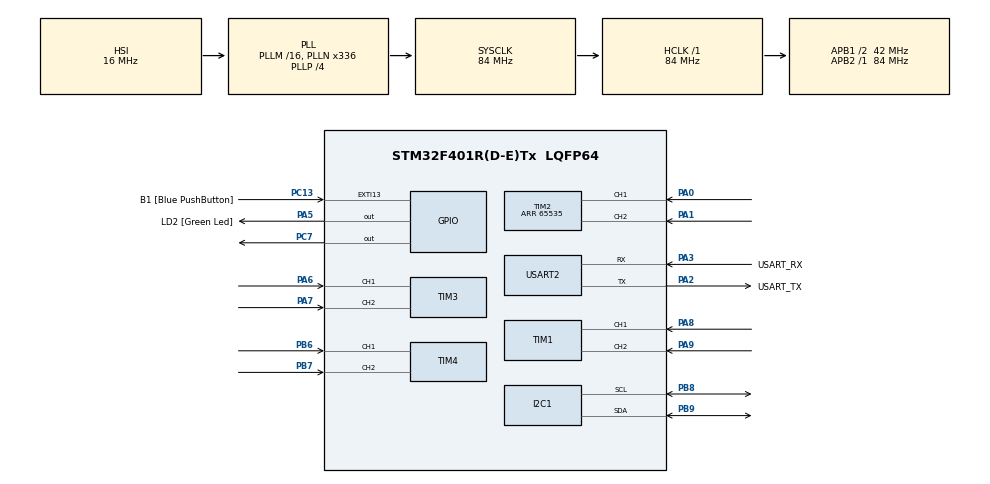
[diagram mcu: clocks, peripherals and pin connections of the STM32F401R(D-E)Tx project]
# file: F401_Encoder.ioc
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Dma.Request0=USART2_RX
Dma.Request1=USART2_TX
Dma.USART2_RX.0.Direction=DMA_PERIPH_TO_MEMORY
Dma.USART2_RX.0.FIFOMode=DMA_FIFOMODE_DISABLE
Dma.USART2_RX.0.Instance=DMA1_Stream5
Dma.USART2_RX.0.MemDataAlignment=DMA_MDATAALIGN_BYTE
Dma.USART2_RX.0.MemInc=DMA_MINC_ENABLE
Dma.USART2_RX.0.Mode=DMA_CIRCULAR
Dma.USART2_RX.0.PeriphDataAlignment=DMA_PDATAALIGN_BYTE
Dma.USART2_RX.0.PeriphInc=DMA_PINC_DISABLE
Dma.USART2_RX.0.Priority=DMA_PRIORITY_VERY_HIGH
Dma.USART2_TX.1.Direction=DMA_MEMORY_TO_PERIPH
Dma.USART2_TX.1.FIFOMode=DMA_FIFOMODE_DISABLE
Dma.USART2_TX.1.Instance=DMA1_Stream6
Dma.USART2_TX.1.MemDataAlignment=DMA_MDATAALIGN_BYTE
Dma.USART2_TX.1.MemInc=DMA_MINC_ENABLE
Dma.USART2_TX.1.Mode=DMA_NORMAL
Dma.USART2_TX.1.PeriphDataAlignment=DMA_PDATAALIGN_BYTE
Dma.USART2_TX.1.PeriphInc=DMA_PINC_DISABLE
Dma.USART2_TX.1.Priority=DMA_PRIORITY_VERY_HIGH
FREERTOS.Tasks01=defaultTask,24,3000,Microros,Default,NULL,Dynamic,NULL,NULL
Mcu.Family=STM32F4
Mcu.Name=STM32F401R(D-E)Tx
Mcu.Package=LQFP64
NVIC.DMA1_Stream5_IRQn=true\:5\:0\:false\:false\:true\:true\:false\:true\:true
NVIC.DMA1_Stream6_IRQn=true\:5\:0\:false\:false\:true\:true\:false\:true\:true
NVIC.PriorityGroup=NVIC_PRIORITYGROUP_4
NVIC.TIM1_BRK_TIM9_IRQn=true\:5\:0\:false\:false\:true\:true\:true\:true\:true
NVIC.TIM1_CC_IRQn=true\:5\:0\:false\:false\:true\:true\:true\:true\:true
NVIC.TIM1_TRG_COM_TIM11_IRQn=true\:5\:0\:false\:false\:true\:true\:true\:true\:true
NVIC.TIM1_UP_TIM10_IRQn=true\:5\:0\:false\:false\:true\:true\:true\:true\:true
NVIC.TIM2_IRQn=true\:5\:0\:false\:false\:true\:true\:true\:true\:true
NVIC.TIM3_IRQn=true\:5\:0\:false\:false\:true\:true\:true\:true\:true
NVIC.TIM4_IRQn=true\:5\:0\:false\:false\:true\:true\:true\:true\:true
NVIC.TIM5_IRQn=true\:5\:0\:false\:false\:true\:true\:true\:true\:true
NVIC.USART2_IRQn=true\:5\:0\:false\:false\:true\:true\:true\:true\:true
PA0-WKUP.Signal=S_TIM2_CH1_ETR
PA1.Signal=S_TIM2_CH2
PA13.GPIO_Label=TMS
PA13.Mode=Trace_Asynchronous_SW
PA13.Signal=SYS_JTMS-SWDIO
PA14.GPIO_Label=TCK
PA14.Mode=Trace_Asynchronous_SW
PA14.Signal=SYS_JTCK-SWCLK
PA2.GPIO_Label=USART_TX
PA2.GPIO_Mode=GPIO_MODE_AF_PP
PA2.GPIO_PuPd=GPIO_NOPULL
PA2.GPIO_Speed=GPIO_SPEED_FREQ_LOW
PA2.Mode=Asynchronous
PA2.Signal=USART2_TX
PA3.GPIO_Label=USART_RX
PA3.GPIO_Mode=GPIO_MODE_AF_PP
PA3.GPIO_PuPd=GPIO_NOPULL
PA3.GPIO_Speed=GPIO_SPEED_FREQ_LOW
PA3.Mode=Asynchronous
PA3.Signal=USART2_RX
PA5.GPIO_Label=LD2 [Green Led]
PA5.GPIO_Mode=GPIO_MODE_OUTPUT_PP
PA5.GPIO_PuPd=GPIO_NOPULL
PA5.GPIO_Speed=GPIO_SPEED_FREQ_LOW
PA5.Signal=GPIO_Output
PA6.Signal=S_TIM3_CH1
PA7.Signal=S_TIM3_CH2
PA8.Signal=S_TIM1_CH1
PA9.Signal=S_TIM1_CH2
PB3.GPIO_Label=SWO
PB3.Mode=Trace_Asynchronous_SW
PB3.Signal=SYS_JTDO-SWO
PB6.Signal=S_TIM4_CH1
PB7.Signal=S_TIM4_CH2
PB8.Mode=I2C
PB8.Signal=I2C1_SCL
PB9.Mode=I2C
PB9.Signal=I2C1_SDA
PC13-ANTI_TAMP.GPIO_Label=B1 [Blue PushButton]
PC13-ANTI_TAMP.GPIO_ModeDefaultEXTI=GPIO_MODE_IT_FALLING
PC13-ANTI_TAMP.GPIO_PuPd=GPIO_NOPULL
PC13-ANTI_TAMP.Signal=GPXTI13
PC14-OSC32_IN.Mode=LSE-External-Oscillator
PC14-OSC32_IN.Signal=RCC_OSC32_IN
PC15-OSC32_OUT.Mode=LSE-External-Oscillator
PC15-OSC32_OUT.Signal=RCC_OSC32_OUT
PC7.Signal=GPIO_Output
PH0\ -\ OSC_IN.Mode=HSE-External-Oscillator
PH0\ -\ OSC_IN.Signal=RCC_OSC_IN
PH1\ -\ OSC_OUT.Mode=HSE-External-Oscillator
PH1\ -\ OSC_OUT.Signal=RCC_OSC_OUT
ProjectManager.HeapSize=0x200
ProjectManager.StackSize=0x400
ProjectManager.TargetToolchain=STM32CubeIDE
RCC.48MHZClocksFreq_Value=48000000
RCC.AHBFreq_Value=84000000
RCC.APB1CLKDivider=RCC_HCLK_DIV2
RCC.APB1Freq_Value=42000000
RCC.APB1TimFreq_Value=84000000
RCC.APB2Freq_Value=84000000
RCC.APB2TimFreq_Value=84000000
RCC.CortexFreq_Value=84000000
RCC.HCLKFreq_Value=84000000
RCC.HSE_VALUE=8000000
RCC.HSI_VALUE=16000000
RCC.PLLN=336
RCC.PLLP=RCC_PLLP_DIV4
RCC.PLLQ=7
RCC.SYSCLKFreq_VALUE=84000000
RCC.SYSCLKSource=RCC_SYSCLKSOURCE_PLLCLK
RCC.VCOOutputFreq_Value=336000000
SH.S_TIM1_CH1.0=TIM1_CH1,Encoder_Interface
SH.S_TIM1_CH2.0=TIM1_CH2,Encoder_Interface
SH.S_TIM2_CH1_ETR.0=TIM2_CH1,Encoder_Interface
SH.S_TIM2_CH2.0=TIM2_CH2,Encoder_Interface
SH.S_TIM3_CH1.0=TIM3_CH1,Encoder_Interface
SH.S_TIM3_CH2.0=TIM3_CH2,Encoder_Interface
SH.S_TIM4_CH1.0=TIM4_CH1,Encoder_Interface
SH.S_TIM4_CH2.0=TIM4_CH2,Encoder_Interface
TIM1.AutoReloadPreload=TIM_AUTORELOAD_PRELOAD_ENABLE
TIM2.AutoReloadPreload=TIM_AUTORELOAD_PRELOAD_ENABLE
TIM2.Period=65535
TIM3.AutoReloadPreload=TIM_AUTORELOAD_PRELOAD_ENABLE
TIM4.AutoReloadPreload=TIM_AUTORELOAD_PRELOAD_ENABLE
TIM5.AutoReloadPreload=TIM_AUTORELOAD_PRELOAD_ENABLE
TIM5.Period=200
TIM5.Prescaler=42000
TIM5.TIM_MasterOutputTrigger=TIM_TRGO_UPDATE
USART2.VirtualMode=VM_ASYNC
VP_FREERTOS_VS_CMSIS_V2.Mode=CMSIS_V2
VP_TIM5_VS_ClockSourceINT.Mode=Internal
board=NUCLEO-F401RE

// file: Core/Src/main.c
/* USER CODE BEGIN Header */
/**
  ******************************************************************************
  * @file           : main.c
  * @brief          : Main program body
  ******************************************************************************
  * @attention
  *
  * Copyright (c) 2025 STMicroelectronics.
  * All rights reserved.
  *
  * This software is licensed under terms that can be found in the LICENSE file
  * in the root directory of this software component.
  * If no LICENSE file comes with this software, it is provided AS-IS.
  *
  ******************************************************************************
  */
/* USER CODE END Header */
#include "main.h"
#include "cmsis_os.h"

/* USER CODE BEGIN Includes */
#include "math.h"
#include <rcl/rcl.h>
#include <rcl/error_handling.h>
#include <rclc/rclc.h>
#include <rclc/executor.h>
#include <uxr/client/transport.h>
#include <rmw_microxrcedds_c/config.h>
#include <rmw_microros/rmw_microros.h>

#include <std_msgs/msg/int32.h>
#include <rover_msgs/msg/encoder_msg.h>
#include <rover_msgs/msg/controller_msg.h>
#include <string.h>
#include <stdio.h>
/* USER CODE END Includes */

/* USER CODE BEGIN PTD */
#define ACCEL_XOUT_H   0x3B
#define GYRO_XOUT_H    0x43
#define MPU9250_ADDR   0x68   // Use 0x69 if AD0 is high
#define PWR_MGMT_1     0x6B
#define WHO_AM_I       0x75

typedef struct{
	float angular_velocity;
	int timer_counter;
	int last_counter_value;
}encoder_data;
/* USER CODE END PTD */

/* USER CODE BEGIN PD */
#define max_bits 65535;
/* USER CODE BEGIN PD */

/* USER CODE END PD */

/* USER CODE BEGIN PM */
uint8_t accel_buf[6];
uint8_t gyro_buf[6];
int16_t gyro_x, gyro_y, gyro_z=0;
uint8_t mag_buf[6];
int16_t mag_x, mag_y, mag_z=0;
int16_t accel_x, accel_y, accel_z=0;

static int32_t roll = 0.0f, pitch = 0.0f, yaw = 0.0f;
static uint32_t last_time = 0;
/* USER CODE END PM */

I2C_HandleTypeDef hi2c1;

TIM_HandleTypeDef htim1;
TIM_HandleTypeDef htim2;
TIM_HandleTypeDef htim3;
TIM_HandleTypeDef htim4;
TIM_HandleTypeDef htim5;

UART_HandleTypeDef huart2;
DMA_HandleTypeDef hdma_usart2_rx;
DMA_HandleTypeDef hdma_usart2_tx;

/* Definitions for defaultTask */
osThreadId_t defaultTaskHandle;
const osThreadAttr_t defaultTask_attributes = {
  .name = "defaultTask",
  .stack_size = 3000 * 4,
  .priority = (osPriority_t) osPriorityNormal,
};

void SystemClock_Config(void);
static void MX_GPIO_Init(void);
static void MX_DMA_Init(void);
static void MX_USART2_UART_Init(void);
static void MX_TIM1_Init(void);
static void MX_TIM2_Init(void);
static void MX_TIM3_Init(void);
static void MX_TIM5_Init(void);
static void MX_I2C1_Init(void);
static void MX_TIM4_Init(void);
void Microros(void *argument);

int main(void)
{

  /* MCU Configuration--------------------------------------------------------*/

  /* Reset of all peripherals, Initializes the Flash interface and the Systick. */
  HAL_Init();

  /* Configure the system clock */
  SystemClock_Config();

  /* Initialize all configured peripherals */
  MX_GPIO_Init();
  MX_DMA_Init();
  MX_USART2_UART_Init();
  MX_TIM1_Init();
  MX_TIM2_Init();
  MX_TIM3_Init();
  MX_TIM5_Init();
  MX_I2C1_Init();
  MX_TIM4_Init();
  /* USER CODE BEGIN 2 */
  HAL_TIM_Base_Start_IT(&htim5);

  /* USER CODE END 2 */

  /* Init scheduler */
  osKernelInitialize();

  /* Create the thread(s) */
  /* creation of defaultTask */
  defaultTaskHandle = osThreadNew(Microros, NULL, &defaultTask_attributes);

  /* Start scheduler */
  osKernelStart();

  /* We should never get here as control is now taken by the scheduler */

  /* Infinite loop */
  while (1)
  {

  }
}

void SystemClock_Config(void)
{
  RCC_OscInitTypeDef RCC_OscInitStruct = {0};
  RCC_ClkInitTypeDef RCC_ClkInitStruct = {0};

  /** Configure the main internal regulator output voltage
  */
  __HAL_RCC_PWR_CLK_ENABLE();
  __HAL_PWR_VOLTAGESCALING_CONFIG(PWR_REGULATOR_VOLTAGE_SCALE2);

  /** Initializes the RCC Oscillators according to the specified parameters
  * in the RCC_OscInitTypeDef structure.
  */
  RCC_OscInitStruct.OscillatorType = RCC_OSCILLATORTYPE_HSI;
  RCC_OscInitStruct.HSIState = RCC_HSI_ON;
  RCC_OscInitStruct.HSICalibrationValue = RCC_HSICALIBRATION_DEFAULT;
  RCC_OscInitStruct.PLL.PLLState = RCC_PLL_ON;
  RCC_OscInitStruct.PLL.PLLSource = RCC_PLLSOURCE_HSI;
  RCC_OscInitStruct.PLL.PLLM = 16;
  RCC_OscInitStruct.PLL.PLLN = 336;
  RCC_OscInitStruct.PLL.PLLP = RCC_PLLP_DIV4;
  RCC_OscInitStruct.PLL.PLLQ = 7;
  if (HAL_RCC_OscConfig(&RCC_OscInitStruct) != HAL_OK)
  {
    Error_Handler();
  }

  /** Initializes the CPU, AHB and APB buses clocks
  */
  RCC_ClkInitStruct.ClockType = RCC_CLOCKTYPE_HCLK|RCC_CLOCKTYPE_SYSCLK
                              |RCC_CLOCKTYPE_PCLK1|RCC_CLOCKTYPE_PCLK2;
  RCC_ClkInitStruct.SYSCLKSource = RCC_SYSCLKSOURCE_PLLCLK;
  RCC_ClkInitStruct.AHBCLKDivider = RCC_SYSCLK_DIV1;
  RCC_ClkInitStruct.APB1CLKDivider = RCC_HCLK_DIV2;
  RCC_ClkInitStruct.APB2CLKDivider = RCC_HCLK_DIV1;

  if (HAL_RCC_ClockConfig(&RCC_ClkInitStruct, FLASH_LATENCY_2) != HAL_OK)
  {
    Error_Handler();
  }
}

static void MX_I2C1_Init(void)
{

  hi2c1.Instance = I2C1;
  hi2c1.Init.ClockSpeed = 100000;
  hi2c1.Init.DutyCycle = I2C_DUTYCYCLE_2;
  hi2c1.Init.OwnAddress1 = 0;
  hi2c1.Init.AddressingMode = I2C_ADDRESSINGMODE_7BIT;
  hi2c1.Init.DualAddressMode = I2C_DUALADDRESS_DISABLE;
  hi2c1.Init.OwnAddress2 = 0;
  hi2c1.Init.GeneralCallMode = I2C_GENERALCALL_DISABLE;
  hi2c1.Init.NoStretchMode = I2C_NOSTRETCH_DISABLE;
  if (HAL_I2C_Init(&hi2c1) != HAL_OK)
  {
    Error_Handler();
  }

}

static void MX_TIM1_Init(void)
{

  TIM_Encoder_InitTypeDef sConfig = {0};
  TIM_MasterConfigTypeDef sMasterConfig = {0};

  htim1.Instance = TIM1;
  htim1.Init.Prescaler = 0;
  htim1.Init.CounterMode = TIM_COUNTERMODE_UP;
  htim1.Init.Period = 65535;
  htim1.Init.ClockDivision = TIM_CLOCKDIVISION_DIV1;
  htim1.Init.RepetitionCounter = 0;
  htim1.Init.AutoReloadPreload = TIM_AUTORELOAD_PRELOAD_ENABLE;
  sConfig.EncoderMode = TIM_ENCODERMODE_TI1;
  sConfig.IC1Polarity = TIM_ICPOLARITY_RISING;
  sConfig.IC1Selection = TIM_ICSELECTION_DIRECTTI;
  sConfig.IC1Prescaler = TIM_ICPSC_DIV1;
  sConfig.IC1Filter = 0;
  sConfig.IC2Polarity = TIM_ICPOLARITY_RISING;
  sConfig.IC2Selection = TIM_ICSELECTION_DIRECTTI;
  sConfig.IC2Prescaler = TIM_ICPSC_DIV1;
  sConfig.IC2Filter = 0;
  if (HAL_TIM_Encoder_Init(&htim1, &sConfig) != HAL_OK)
  {
    Error_Handler();
  }
  sMasterConfig.MasterOutputTrigger = TIM_TRGO_RESET;
  sMasterConfig.MasterSlaveMode = TIM_MASTERSLAVEMODE_DISABLE;
  if (HAL_TIMEx_MasterConfigSynchronization(&htim1, &sMasterConfig) != HAL_OK)
  {
    Error_Handler();
  }
  /* USER CODE BEGIN TIM1_Init 2 */
  HAL_TIM_Encoder_Start(&htim1, TIM_CHANNEL_ALL);
  /* USER CODE END TIM1_Init 2 */

}

static void MX_TIM2_Init(void)
{

  TIM_Encoder_InitTypeDef sConfig = {0};
  TIM_MasterConfigTypeDef sMasterConfig = {0};

  htim2.Instance = TIM2;
  htim2.Init.Prescaler = 0;
  htim2.Init.CounterMode = TIM_COUNTERMODE_UP;
  htim2.Init.Period = 65535;
  htim2.Init.ClockDivision = TIM_CLOCKDIVISION_DIV1;
  htim2.Init.AutoReloadPreload = TIM_AUTORELOAD_PRELOAD_ENABLE;
  sConfig.EncoderMode = TIM_ENCODERMODE_TI1;
  sConfig.IC1Polarity = TIM_ICPOLARITY_RISING;
  sConfig.IC1Selection = TIM_ICSELECTION_DIRECTTI;
  sConfig.IC1Prescaler = TIM_ICPSC_DIV1;
  sConfig.IC1Filter = 0;
  sConfig.IC2Polarity = TIM_ICPOLARITY_RISING;
  sConfig.IC2Selection = TIM_ICSELECTION_DIRECTTI;
  sConfig.IC2Prescaler = TIM_ICPSC_DIV1;
  sConfig.IC2Filter = 0;
  if (HAL_TIM_Encoder_Init(&htim2, &sConfig) != HAL_OK)
  {
    Error_Handler();
  }
  sMasterConfig.MasterOutputTrigger = TIM_TRGO_RESET;
  sMasterConfig.MasterSlaveMode = TIM_MASTERSLAVEMODE_DISABLE;
  if (HAL_TIMEx_MasterConfigSynchronization(&htim2, &sMasterConfig) != HAL_OK)
  {
    Error_Handler();
  }
  /* USER CODE BEGIN TIM2_Init 2 */
  HAL_TIM_Encoder_Start(&htim2, TIM_CHANNEL_ALL);
  /* USER CODE END TIM2_Init 2 */

}

static void MX_TIM3_Init(void)
{

  TIM_Encoder_InitTypeDef sConfig = {0};
  TIM_MasterConfigTypeDef sMasterConfig = {0};

  htim3.Instance = TIM3;
  htim3.Init.Prescaler = 0;
  htim3.Init.CounterMode = TIM_COUNTERMODE_UP;
  htim3.Init.Period = 65535;
  htim3.Init.ClockDivision = TIM_CLOCKDIVISION_DIV1;
  htim3.Init.AutoReloadPreload = TIM_AUTORELOAD_PRELOAD_ENABLE;
  sConfig.EncoderMode = TIM_ENCODERMODE_TI1;
  sConfig.IC1Polarity = TIM_ICPOLARITY_RISING;
  sConfig.IC1Selection = TIM_ICSELECTION_DIRECTTI;
  sConfig.IC1Prescaler = TIM_ICPSC_DIV1;
  sConfig.IC1Filter = 0;
  sConfig.IC2Polarity = TIM_ICPOLARITY_RISING;
  sConfig.IC2Selection = TIM_ICSELECTION_DIRECTTI;
  sConfig.IC2Prescaler = TIM_ICPSC_DIV1;
  sConfig.IC2Filter = 0;
  if (HAL_TIM_Encoder_Init(&htim3, &sConfig) != HAL_OK)
  {
    Error_Handler();
  }
  sMasterConfig.MasterOutputTrigger = TIM_TRGO_RESET;
  sMasterConfig.MasterSlaveMode = TIM_MASTERSLAVEMODE_DISABLE;
  if (HAL_TIMEx_MasterConfigSynchronization(&htim3, &sMasterConfig) != HAL_OK)
  {
    Error_Handler();
  }
  /* USER CODE BEGIN TIM3_Init 2 */
  HAL_TIM_Encoder_Start(&htim3, TIM_CHANNEL_ALL);
  /* USER CODE END TIM3_Init 2 */

}

static void MX_TIM4_Init(void)
{

  TIM_Encoder_InitTypeDef sConfig = {0};
  TIM_MasterConfigTypeDef sMasterConfig = {0};

  htim4.Instance = TIM4;
  htim4.Init.Prescaler = 0;
  htim4.Init.CounterMode = TIM_COUNTERMODE_UP;
  htim4.Init.Period = 65535;
  htim4.Init.ClockDivision = TIM_CLOCKDIVISION_DIV1;
  htim4.Init.AutoReloadPreload = TIM_AUTORELOAD_PRELOAD_ENABLE;
  sConfig.EncoderMode = TIM_ENCODERMODE_TI1;
  sConfig.IC1Polarity = TIM_ICPOLARITY_RISING;
  sConfig.IC1Selection = TIM_ICSELECTION_DIRECTTI;
  sConfig.IC1Prescaler = TIM_ICPSC_DIV1;
  sConfig.IC1Filter = 0;
  sConfig.IC2Polarity = TIM_ICPOLARITY_RISING;
  sConfig.IC2Selection = TIM_ICSELECTION_DIRECTTI;
  sConfig.IC2Prescaler = TIM_ICPSC_DIV1;
  sConfig.IC2Filter = 0;
  if (HAL_TIM_Encoder_Init(&htim4, &sConfig) != HAL_OK)
  {
    Error_Handler();
  }
  sMasterConfig.MasterOutputTrigger = TIM_TRGO_RESET;
  sMasterConfig.MasterSlaveMode = TIM_MASTERSLAVEMODE_DISABLE;
  if (HAL_TIMEx_MasterConfigSynchronization(&htim4, &sMasterConfig) != HAL_OK)
  {
    Error_Handler();
  }
  /* USER CODE BEGIN TIM4_Init 2 */
HAL_TIM_Encoder_Start(&htim4, TIM_CHANNEL_ALL);
  /* USER CODE END TIM4_Init 2 */

}

static void MX_TIM5_Init(void)
{

  TIM_ClockConfigTypeDef sClockSourceConfig = {0};
  TIM_MasterConfigTypeDef sMasterConfig = {0};

  htim5.Instance = TIM5;
  htim5.Init.Prescaler = 42000;
  htim5.Init.CounterMode = TIM_COUNTERMODE_UP;
  htim5.Init.Period = 200;
  htim5.Init.ClockDivision = TIM_CLOCKDIVISION_DIV1;
  htim5.Init.AutoReloadPreload = TIM_AUTORELOAD_PRELOAD_ENABLE;
  if (HAL_TIM_Base_Init(&htim5) != HAL_OK)
  {
    Error_Handler();
  }
  sClockSourceConfig.ClockSource = TIM_CLOCKSOURCE_INTERNAL;
  if (HAL_TIM_ConfigClockSource(&htim5, &sClockSourceConfig) != HAL_OK)
  {
    Error_Handler();
  }
  sMasterConfig.MasterOutputTrigger = TIM_TRGO_UPDATE;
  sMasterConfig.MasterSlaveMode = TIM_MASTERSLAVEMODE_DISABLE;
  if (HAL_TIMEx_MasterConfigSynchronization(&htim5, &sMasterConfig) != HAL_OK)
  {
    Error_Handler();
  }

}

static void MX_USART2_UART_Init(void)
{

  huart2.Instance = USART2;
  huart2.Init.BaudRate = 115200;
  huart2.Init.WordLength = UART_WORDLENGTH_8B;
  huart2.Init.StopBits = UART_STOPBITS_1;
  huart2.Init.Parity = UART_PARITY_NONE;
  huart2.Init.Mode = UART_MODE_TX_RX;
  huart2.Init.HwFlowCtl = UART_HWCONTROL_NONE;
  huart2.Init.OverSampling = UART_OVERSAMPLING_16;
  if (HAL_UART_Init(&huart2) != HAL_OK)
  {
    Error_Handler();
  }

}

static void MX_DMA_Init(void)
{

  /* DMA controller clock enable */
  __HAL_RCC_DMA1_CLK_ENABLE();

  /* DMA interrupt init */
  /* DMA1_Stream5_IRQn interrupt configuration */
  HAL_NVIC_SetPriority(DMA1_Stream5_IRQn, 5, 0);
  HAL_NVIC_EnableIRQ(DMA1_Stream5_IRQn);
  /* DMA1_Stream6_IRQn interrupt configuration */
  HAL_NVIC_SetPriority(DMA1_Stream6_IRQn, 5, 0);
  HAL_NVIC_EnableIRQ(DMA1_Stream6_IRQn);

}

static void MX_GPIO_Init(void)
{
  GPIO_InitTypeDef GPIO_InitStruct = {0};

  /* GPIO Ports Clock Enable */
  __HAL_RCC_GPIOC_CLK_ENABLE();
  __HAL_RCC_GPIOH_CLK_ENABLE();
  __HAL_RCC_GPIOA_CLK_ENABLE();
  __HAL_RCC_GPIOB_CLK_ENABLE();

  /*Configure GPIO pin Output Level */
  HAL_GPIO_WritePin(LD2_GPIO_Port, LD2_Pin, GPIO_PIN_RESET);

  /*Configure GPIO pin Output Level */
  HAL_GPIO_WritePin(GPIOC, GPIO_PIN_7, GPIO_PIN_RESET);

  /*Configure GPIO pin : B1_Pin */
  GPIO_InitStruct.Pin = B1_Pin;
  GPIO_InitStruct.Mode = GPIO_MODE_IT_FALLING;
  GPIO_InitStruct.Pull = GPIO_NOPULL;
  HAL_GPIO_Init(B1_GPIO_Port, &GPIO_InitStruct);

  /*Configure GPIO pin : LD2_Pin */
  GPIO_InitStruct.Pin = LD2_Pin;
  GPIO_InitStruct.Mode = GPIO_MODE_OUTPUT_PP;
  GPIO_InitStruct.Pull = GPIO_NOPULL;
  GPIO_InitStruct.Speed = GPIO_SPEED_FREQ_LOW;
  HAL_GPIO_Init(LD2_GPIO_Port, &GPIO_InitStruct);

  /*Configure GPIO pin : PC7 */
  GPIO_InitStruct.Pin = GPIO_PIN_7;
  GPIO_InitStruct.Mode = GPIO_MODE_OUTPUT_PP;
  GPIO_InitStruct.Pull = GPIO_NOPULL;
  GPIO_InitStruct.Speed = GPIO_SPEED_FREQ_LOW;
  HAL_GPIO_Init(GPIOC, &GPIO_InitStruct);

}

/* USER CODE BEGIN 4 */
bool cubemx_transport_open(struct uxrCustomTransport * transport);
bool cubemx_transport_close(struct uxrCustomTransport * transport);
size_t cubemx_transport_write(struct uxrCustomTransport* transport, const uint8_t * buf, size_t len, uint8_t * err);
size_t cubemx_transport_read(struct uxrCustomTransport* transport, uint8_t* buf, size_t len, int timeout, uint8_t* err);

void * microros_allocate(size_t size, void * state);
void microros_deallocate(void * pointer, void * state);
void * microros_reallocate(void * pointer, size_t size, void * state);
void * microros_zero_allocate(size_t number_of_elements, size_t size_of_element, void * state);

int delay = 100;

encoder_data m1;
encoder_data m2;
encoder_data m3;
encoder_data m4;
rcl_node_t nodesub;
rover_msgs__msg__EncoderMsg encodermsg;
rcl_subscription_t subscriber;
uint8_t light;

void read_encoder_angular_velocity(encoder_data *motor,TIM_HandleTypeDef *htim,int delay){
	motor->timer_counter = __HAL_TIM_GET_COUNTER(htim);

				 int change = motor->last_counter_value - motor->timer_counter;

			  	  if(change > 60000){
			  		motor->angular_velocity = -change + max_bits;// tekerlekteki açısal hızı veriyor olması lazım
			  	  }
			  	  else if (change < -60000){
			  		motor->angular_velocity = -change - max_bits;
			  	  }
			  	  else{
			  		motor->angular_velocity = (motor->timer_counter - motor->last_counter_value);
			  	  }

	motor->angular_velocity *= 1000/delay;// geçen süreye bölmece
	if(htim->Instance == TIM2 && change > 0){
		motor->angular_velocity /=3500;
	}
	else{
		motor->angular_velocity /=6000;
	}
	motor->angular_velocity *= 16; motor->angular_velocity /= 100;
	motor ->angular_velocity*= 2 * M_PI;
	motor->last_counter_value = motor->timer_counter;
}

void HAL_TIM_PeriodElapsedCallback(TIM_HandleTypeDef *htim){

	if(htim->Instance == TIM5){
		read_encoder_angular_velocity(&m1,&htim1, delay);//motor 1
		read_encoder_angular_velocity(&m2, &htim2, delay);//motor 2
		read_encoder_angular_velocity(&m3,&htim3, delay);//motor 3
		read_encoder_angular_velocity(&m4, &htim4, delay);//motor 4
		//HAL_GPIO_TogglePin(GPIOA, GPIO_PIN_5);

	}

}

void LedKontrol(){

	if (light > 0 )
	{
 	 	HAL_GPIO_WritePin(GPIOC, GPIO_PIN_7, 1);
	}
	else
	{
		HAL_GPIO_WritePin(GPIOC, GPIO_PIN_7, 0);
	}
}

void subscription_callback_controller(const void * msgin){
	    // Cast received message to used type
	const rover_msgs__msg__ControllerMsg * incoming_msg = (const rover_msgs__msg__ControllerMsg *)msgin;

	light = (uint8_t)incoming_msg->light;

    LedKontrol();

}

/* USER CODE END 4 */

void Microros(void *argument)
{
  /* USER CODE BEGIN 5 */
  /* Infinite loop */
	  rmw_uros_set_custom_transport(
	    true,
	    (void *) &huart2,
	    cubemx_transport_open,
	    cubemx_transport_close,
	    cubemx_transport_write,
	    cubemx_transport_read);

	  rcl_allocator_t freeRTOS_allocator = rcutils_get_zero_initialized_allocator();
	  freeRTOS_allocator.allocate = microros_allocate;
	  freeRTOS_allocator.deallocate = microros_deallocate;
	  freeRTOS_allocator.reallocate = microros_reallocate;
	  freeRTOS_allocator.zero_allocate =  microros_zero_allocate;

          rover_msgs__msg__ControllerMsg submsg;
          rclc_executor_t executor;
	      rclc_support_t support;
	      rcl_allocator_t allocator;

	      rcl_publisher_t publisher;
	      rcl_node_t nodepub;

	      allocator = rcl_get_default_allocator();

	      	    // create init_options
	      rclc_support_init(&support, 0, NULL, &allocator);

	      	    // create node
	      rclc_node_init_default(&nodepub, "encoder_node", "", &support);
	      /*rclc_subscription_init_default(
	      	        &subscriber,
	      	        &nodesub,
	      	        ROSIDL_GET_MSG_TYPE_SUPPORT(rover_msgs, msg, ControllerMsg),
	      	        "joystick_cmd");*/
	     // rclc_executor_init(&executor, &support.context, 2, &allocator);
	      /*
	      rclc_executor_add_subscription(
	      	      &executor, &subscriber, &submsg,
	      	      &subscription_callback_controller, ON_NEW_DATA);
*/

	      	    // create subscription
	      rclc_publisher_init_default(
	          &publisher,
	          &nodepub,
	          ROSIDL_GET_MSG_TYPE_SUPPORT(rover_msgs, msg, EncoderMsg),
	          "encoder");
	  for(;;){
		encodermsg.m1 = m1.angular_velocity;
	   encodermsg.m2 =m2.angular_velocity;
		encodermsg.m3 =m3.angular_velocity;
		encodermsg.m4 =m4.angular_velocity;
		//rclc_executor_spin_some(&executor,100);
		rcl_publish(&publisher, &encodermsg, NULL);

	    osDelay(10);
	  }
  /* USER CODE END 5 */
}

void Error_Handler(void)
{
  __disable_irq();
  while (1)
  {
  }
}
